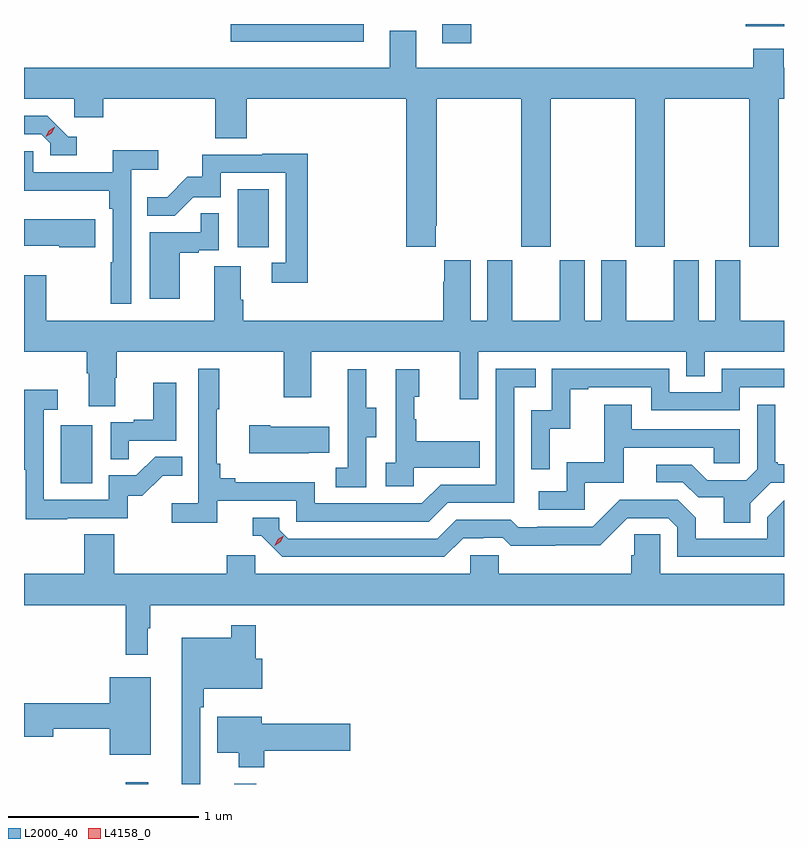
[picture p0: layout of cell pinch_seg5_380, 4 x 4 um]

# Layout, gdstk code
import gdstk
lib = gdstk.Library(unit=1e-6, precision=1e-09)
def R(c, l, rs):  # rectangles x0, y0, x1, y1
    for r in rs: c.add(gdstk.rectangle(r[:2], r[2:], *l))
def P(c, l, *ps):  # polygons
    for p in ps: c.add(gdstk.Polygon(p, *l))
L2000_40 = (2000, 40)
L4158_0 = (4158, 0)

pinch_seg5_380 = lib.new_cell('pinch_seg5_380')
R(pinch_seg5_380, L2000_40, [(985.507,870.47,985.625,870.478), (986.078,870.47,986.195,870.472), (985.166,872.052,985.33,872.359), (986.096,873.294,986.26,873.601), (987.173,874.368,987.326,874.47), (986.061,874.376,986.761,874.47), (988.771,874.458,988.972,874.47)])
P(pinch_seg5_380, L2000_40, [(987.139,873.409),(987.144,873.409),(987.144,874.076),(987.589,874.076),(987.589,873.297),(987.744,873.297),(987.744,874.076),(988.189,874.076),(988.189,873.297),(988.344,873.297),(988.344,874.076),(988.789,874.076),(988.789,873.297),(988.944,873.297),(988.944,874.076),(988.972,874.076),(988.972,874.24),(988.971,874.24),(988.971,874.339),(988.811,874.339),(988.811,874.24),(987.037,874.24),(987.037,874.435),(986.897,874.435),(986.897,874.24),(984.972,874.24),(984.972,874.076),(985.236,874.076),(985.236,873.978),(985.388,873.978),(985.388,874.076),(985.979,874.076),(985.979,873.868),(986.144,873.868),(986.144,874.076),(986.984,874.076),(986.984,873.297),(987.139,873.297)],
  [(985.249,873.876),(985.206,873.876),(985.095,873.987),(984.972,873.987),(984.972,873.891),(985.062,873.891),(985.11,873.843),(985.11,873.78),(985.249,873.78)],
  [(985.536,873.704),(985.678,873.704),(985.678,873.806),(985.439,873.806),(985.439,873.69),(985.02,873.69),(985.02,873.801),(984.972,873.801),(984.972,873.593),(985.42,873.593),(985.42,873.497),(985.44,873.497),(985.44,873.215),(985.428,873.215),(985.428,872.997),(985.536,872.997)],
  [(986.465,873.788),(986.227,873.788),(986.227,873.783),(985.909,873.783),(985.909,873.666),(985.832,873.666),(985.725,873.559),(985.621,873.559),(985.621,873.46),(985.765,873.46),(985.863,873.558),(986.007,873.558),(986.007,873.687),(986.349,873.687),(986.349,873.213),(986.277,873.213),(986.277,873.108),(986.465,873.108)],
  [(985.792,873.267),(985.892,873.267),(985.892,873.279),(985.998,873.279),(985.998,873.473),(985.903,873.473),(985.903,873.375),(985.634,873.375),(985.634,873.024),(985.792,873.024)],
  [(985.348,873.442),(984.972,873.442),(984.972,873.302),(985.157,873.302),(985.157,873.295),(985.348,873.295)],
  [(985.453,872.607),(985.461,872.607),(985.461,872.744),(986.338,872.744),(986.338,872.505),(986.485,872.505),(986.485,872.744),(987.266,872.744),(987.266,872.496),(987.363,872.496),(987.363,872.744),(988.458,872.744),(988.458,872.617),(988.554,872.617),(988.554,872.744),(988.972,872.744),(988.972,872.908),(988.741,872.908),(988.741,873.226),(988.61,873.226),(988.61,872.908),(988.522,872.908),(988.522,873.226),(988.391,873.226),(988.391,872.908),(988.141,872.908),(988.141,873.226),(988.01,873.226),(988.01,872.908),(987.922,872.908),(987.922,873.226),(987.791,873.226),(987.791,872.908),(987.541,872.908),(987.541,873.226),(987.41,873.226),(987.41,872.908),(987.322,872.908),(987.322,873.226),(987.185,873.226),(987.185,873.113),(987.179,873.113),(987.179,872.908),(986.126,872.908),(986.126,873.02),(986.113,873.02),(986.113,873.194),(985.973,873.194),(985.973,872.908),(985.089,872.908),(985.089,873.148),(984.972,873.148),(984.972,872.744),(985.301,872.744),(985.301,872.632),(985.313,872.632),(985.313,872.458),(985.453,872.458)],
  [(985.988,871.962),(986.406,871.962),(986.406,871.851),(987.103,871.851),(987.202,871.95),(987.552,871.95),(987.552,872.559),(987.665,872.559),(987.665,872.655),(987.456,872.655),(987.456,872.046),(987.165,872.046),(987.066,871.947),(986.502,871.947),(986.502,872.059),(986.083,872.059),(986.083,872.078),(986.006,872.078),(986.006,872.155),(985.987,872.155),(985.987,872.443),(985.999,872.443),(985.999,872.656),(985.89,872.656),(985.89,871.948),(985.749,871.948),(985.749,871.846),(985.988,871.846)],
  [(987.738,872.339),(987.848,872.339),(987.848,872.547),(987.943,872.547),(987.943,872.559),(988.272,872.559),(988.272,872.436),(988.74,872.436),(988.74,872.559),(988.972,872.559),(988.972,872.655),(988.644,872.655),(988.644,872.532),(988.368,872.532),(988.368,872.655),(987.75,872.655),(987.75,872.436),(987.642,872.436),(987.642,872.127),(987.738,872.127)],
  [(986.772,872.296),(986.827,872.296),(986.827,872.451),(986.773,872.451),(986.773,872.653),(986.675,872.653),(986.675,872.439),(986.676,872.439),(986.676,872.135),(986.613,872.135),(986.613,872.032),(986.772,872.032)],
  [(987.024,872.135),(987.371,872.135),(987.371,872.275),(987.037,872.275),(987.037,872.39),(987.027,872.39),(987.027,872.508),(987.052,872.508),(987.052,872.653),(986.928,872.653),(986.928,872.162),(986.877,872.162),(986.877,872.037),(987.024,872.037)],
  [(985.523,872.277),(985.774,872.277),(985.774,872.581),(985.652,872.581),(985.652,872.386),(985.549,872.386),(985.549,872.373),(985.428,872.373),(985.428,872.179),(985.523,872.179)],
  [(985.199,871.869),(985.518,871.869),(985.518,871.986),(985.594,871.986),(985.701,872.093),(985.805,872.093),(985.805,872.192),(985.662,872.192),(985.564,872.094),(985.419,872.094),(985.419,871.965),(985.077,871.965),(985.077,872.439),(985.15,872.439),(985.15,872.545),(984.972,872.545),(984.972,872.125),(984.981,872.125),(984.981,871.864),(985.199,871.864)],
  [(988.795,871.948),(988.902,872.055),(988.972,872.055),(988.972,872.152),(988.939,872.152),(988.939,872.164),(988.927,872.164),(988.927,872.467),(988.83,872.467),(988.83,872.127),(988.773,872.07),(988.567,872.07),(988.486,872.151),(988.299,872.151),(988.299,872.058),(988.44,872.058),(988.52,871.978),(988.655,871.978),(988.655,871.846),(988.795,871.846)],
  [(987.924,872.055),(988.129,872.055),(988.129,872.241),(988.603,872.241),(988.603,872.157),(988.74,872.157),(988.74,872.337),(988.171,872.337),(988.171,872.467),(988.027,872.467),(988.027,872.164),(987.828,872.164),(987.828,872.01),(987.681,872.01),(987.681,871.914),(987.924,871.914)],
  [(986.471,872.213),(986.579,872.213),(986.579,872.35),(986.269,872.35),(986.269,872.358),(986.157,872.358),(986.157,872.21),(986.471,872.21)],
  [(987.283,871.764),(987.39,871.764),(987.39,871.767),(987.493,871.767),(987.535,871.725),(987.768,871.725),(987.768,871.727),(988.004,871.727),(988.146,871.869),(988.362,871.869),(988.41,871.821),(988.41,871.665),(988.972,871.665),(988.972,871.963),(988.884,871.875),(988.884,871.761),(988.507,871.761),(988.507,871.871),(988.413,871.965),(988.107,871.965),(987.966,871.824),(987.673,871.824),(987.673,871.821),(987.574,871.821),(987.535,871.86),(987.246,871.86),(987.147,871.761),(986.364,871.761),(986.316,871.809),(986.316,871.872),(986.177,871.872),(986.177,871.776),(986.22,871.776),(986.331,871.665),(987.184,871.665)],
  [(985.624,871.289),(985.636,871.289),(985.636,871.412),(988.972,871.412),(988.972,871.576),(988.32,871.576),(988.32,871.784),(988.183,871.784),(988.183,871.674),(988.169,871.674),(988.169,871.576),(987.471,871.576),(987.471,871.674),(987.321,871.674),(987.321,871.576),(986.19,871.576),(986.19,871.674),(986.039,871.674),(986.039,871.576),(985.448,871.576),(985.448,871.784),(985.288,871.784),(985.288,871.576),(984.972,871.576),(984.972,871.412),(985.507,871.412),(985.507,871.149),(985.624,871.149)],
  [(985.899,870.875),(985.919,870.875),(985.919,870.971),(986.227,870.971),(986.227,871.129),(986.192,871.129),(986.192,871.306),(986.064,871.306),(986.064,871.24),(985.802,871.24),(985.802,870.47),(985.899,870.47)],
  [(985.639,871.033),(985.424,871.033),(985.424,870.896),(984.972,870.896),(984.972,870.718),(985.126,870.718),(985.126,870.76),(985.424,870.76),(985.424,870.623),(985.639,870.623)],
  [(986.237,870.646),(986.689,870.646),(986.689,870.788),(986.224,870.788),(986.224,870.823),(985.988,870.823),(985.988,870.635),(986.102,870.635),(986.102,870.557),(986.237,870.557)])
P(pinch_seg5_380, L4158_0, [(986.291,871.724),(986.291,871.724),(986.307,871.757),(986.338,871.777),(986.338,871.777),(986.338,871.776),(986.322,871.744),(986.292,871.724)],
  [(985.087,873.876),(985.087,873.876),(985.103,873.909),(985.133,873.929),(985.134,873.929),(985.134,873.929),(985.118,873.896),(985.087,873.876)])

lib.write_gds('pinch_seg5_380.gds')
